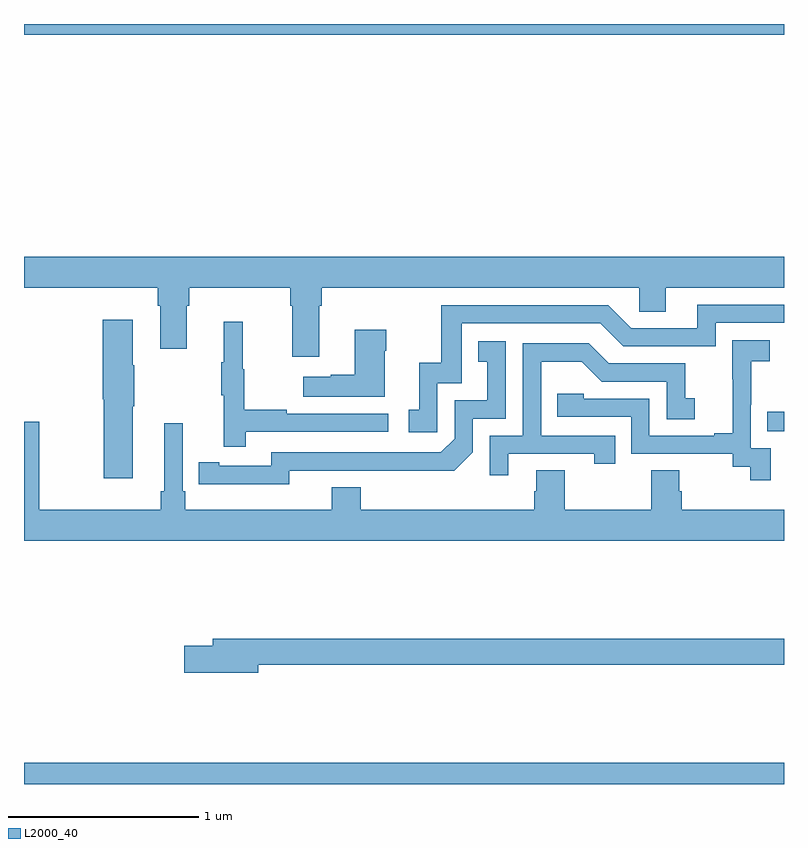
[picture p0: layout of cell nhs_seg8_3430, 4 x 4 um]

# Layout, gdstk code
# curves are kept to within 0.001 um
import gdstk
lib = gdstk.Library(unit=1e-6, precision=1e-09)
def R(c, l, rs):  # rectangles x0, y0, x1, y1
    for r in rs: c.add(gdstk.rectangle(r[:2], r[2:], *l))
def P(c, l, *ps):  # polygons
    for p in ps: c.add(gdstk.Polygon(p, *l))
L2000_40 = (2000, 40)

nhs_seg8_3430 = lib.new_cell('nhs_seg8_3430')
R(nhs_seg8_3430, L2000_40, [(323,1101.9,327,1102.012), (326.911,1103.757,327,1103.858), (323,1105.844,327,1105.9)])
P(nhs_seg8_3430, L2000_40, [(324.553,1104.416),(324.566,1104.416),(324.566,1104.512),(326.238,1104.512),(326.238,1104.385),(326.377,1104.385),(326.377,1104.512),(327,1104.512),(327,1104.676),(323,1104.676),(323,1104.512),(323.705,1104.512),(323.705,1104.416),(323.717,1104.416),(323.717,1104.192),(323.857,1104.192),(323.857,1104.416),(323.87,1104.416),(323.87,1104.512),(324.401,1104.512),(324.401,1104.416),(324.413,1104.416),(324.413,1104.15),(324.553,1104.15)],
  [(325.176,1104.009),(325.305,1104.009),(325.305,1104.324),(326.034,1104.324),(326.154,1104.204),(326.64,1104.204),(326.64,1104.327),(327,1104.327),(327,1104.423),(326.543,1104.423),(326.543,1104.3),(326.196,1104.3),(326.076,1104.42),(325.197,1104.42),(325.197,1104.118),(325.079,1104.118),(325.079,1103.871),(325.026,1103.871),(325.026,1103.751),(325.176,1103.751)],
  [(323.572,1103.887),(323.58,1103.887),(323.58,1104.104),(323.572,1104.104),(323.572,1104.343),(323.414,1104.343),(323.414,1103.925),(323.419,1103.925),(323.419,1103.508),(323.572,1103.508)],
  [(324.167,1103.754),(324.916,1103.754),(324.916,1103.85),(324.383,1103.85),(324.383,1103.87),(324.16,1103.87),(324.16,1104.084),(324.152,1104.084),(324.152,1104.334),(324.05,1104.334),(324.05,1104.121),(324.039,1104.121),(324.039,1103.947),(324.05,1103.947),(324.05,1103.676),(324.167,1103.676)],
  [(324.898,1104.179),(324.906,1104.179),(324.906,1104.292),(324.74,1104.292),(324.74,1104.053),(324.614,1104.053),(324.614,1104.043),(324.471,1104.043),(324.471,1103.939),(324.898,1103.939)],
  [(326.931,1103.667),(326.826,1103.667),(326.826,1103.897),(326.828,1103.897),(326.828,1104.125),(326.926,1104.125),(326.926,1104.235),(326.728,1104.235),(326.728,1104.029),(326.729,1104.029),(326.729,1103.746),(326.633,1103.746),(326.633,1103.733),(326.292,1103.733),(326.292,1103.928),(325.947,1103.928),(325.947,1103.955),(325.807,1103.955),(325.807,1103.832),(326.196,1103.832),(326.196,1103.637),(326.73,1103.637),(326.73,1103.569),(326.823,1103.569),(326.823,1103.499),(326.931,1103.499)],
  [(324.396,1103.55),(325.264,1103.549),(325.362,1103.646),(325.362,1103.823),(325.536,1103.823),(325.536,1104.229),(325.39,1104.229),(325.39,1104.123),(325.439,1104.123),(325.439,1103.919),(325.266,1103.919),(325.266,1103.718),(325.194,1103.646),(324.3,1103.646),(324.3,1103.574),(324.028,1103.574),(324.028,1103.594),(323.92,1103.594),(323.92,1103.478),(324.396,1103.477)],
  [(325.549,1103.637),(326,1103.637),(326,1103.586),(326.111,1103.586),(326.111,1103.733),(325.722,1103.733),(325.722,1104.122),(325.936,1104.122),(326.04,1104.018),(326.382,1104.018),(326.382,1103.82),(326.53,1103.82),(326.53,1103.929),(326.481,1103.929),(326.481,1104.114),(326.077,1104.114),(325.972,1104.219),(325.626,1104.219),(325.626,1103.733),(325.452,1103.733),(325.452,1103.526),(325.549,1103.526)],
  [(327,1103.344),(326.462,1103.344),(326.462,1103.442),(326.449,1103.442),(326.449,1103.552),(326.302,1103.552),(326.302,1103.344),(325.845,1103.344),(325.845,1103.552),(325.697,1103.552),(325.697,1103.442),(325.685,1103.442),(325.685,1103.344),(324.773,1103.344),(324.773,1103.461),(324.62,1103.461),(324.62,1103.344),(323.849,1103.344),(323.849,1103.44),(323.835,1103.44),(323.835,1103.8),(323.738,1103.8),(323.738,1103.44),(323.719,1103.44),(323.719,1103.344),(323.079,1103.344),(323.079,1103.806),(323,1103.806),(323,1103.18),(327,1103.18)],
  [(324.232,1102.528),(327,1102.528),(327,1102.664),(323.993,1102.664),(323.993,1102.628),(323.844,1102.628),(323.844,1102.486),(324.232,1102.486)])

lib.write_gds('nhs_seg8_3430.gds')
